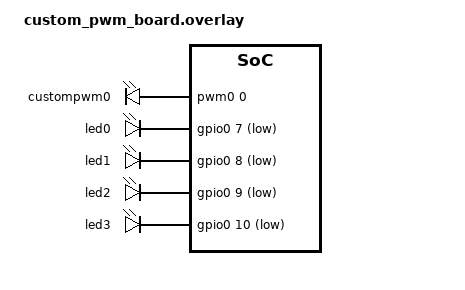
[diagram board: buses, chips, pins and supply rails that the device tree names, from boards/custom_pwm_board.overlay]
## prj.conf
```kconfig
CONFIG_GPIO=y

CONFIG_STDOUT_CONSOLE=y
CONFIG_PRINTK=y
CONFIG_PWM=y
CONFIG_LOG=y
CONFIG_LOG_PRINTK=y
CONFIG_LOG_MODE_IMMEDIATE=y
CONFIG_PWM_LOG_LEVEL_DBG=y
```

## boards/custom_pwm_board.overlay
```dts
/{
    custompwms {
        compatible = "pwm-leds";
    
        custompwm0: custom_pwm_0 {
            pwms =  <&pwm0 0 PWM_MSEC(20) PWM_POLARITY_INVERTED>, 
                    <&pwm0 1 PWM_MSEC(20) PWM_POLARITY_INVERTED>,
                    <&pwm0 2 PWM_MSEC(20) PWM_POLARITY_INVERTED>,
                    <&pwm0 3 PWM_MSEC(20) PWM_POLARITY_INVERTED>
                   ;
        };
    };
    aliases {
        mycustompwm = &custompwm0;
    };
};

&pinctrl {
    pwm0_default: pwm0_default {
		group1 {
			psels = <NRF_PSEL(PWM_OUT0, 0, 11)>,
           <NRF_PSEL(PWM_OUT1, 0, 12)>,
           <NRF_PSEL(PWM_OUT2, 0, 15)>,
           <NRF_PSEL(PWM_OUT3, 0, 16)>;
			nordic,invert;
		};
	};
	pwm0_sleep: pwm0_sleep {
		group1 {
			psels = <NRF_PSEL(PWM_OUT0, 0, 11)>,
				    <NRF_PSEL(PWM_OUT1, 0, 12)>,
                    <NRF_PSEL(PWM_OUT2, 0, 15)>,
                    <NRF_PSEL(PWM_OUT3, 0, 16)>;
			low-power-enable;
		};
	};
};

&led0 {
    gpios = <&gpio0 7 GPIO_ACTIVE_LOW>;
};

&led1 {
    gpios = <&gpio0 8 GPIO_ACTIVE_LOW>;
};

&led2 {
    gpios = <&gpio0 9 GPIO_ACTIVE_LOW>;
};

&led3 {
    gpios = <&gpio0 10 GPIO_ACTIVE_LOW>;
};
```

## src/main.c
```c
#include <zephyr/kernel.h>
#include <zephyr/sys/printk.h>
#include <zephyr/device.h>
#include <zephyr/drivers/pwm.h>
#include <zephyr/drivers/gpio.h>
#include <math.h>

static const struct pwm_dt_spec custompwm[] = 
{
	PWM_DT_SPEC_GET_BY_IDX(DT_ALIAS(mycustompwm), 0),
	PWM_DT_SPEC_GET_BY_IDX(DT_ALIAS(mycustompwm), 1),
	// PWM_DT_SPEC_GET_BY_IDX(DT_ALIAS(mycustompwm), 2),
	// PWM_DT_SPEC_GET_BY_IDX(DT_ALIAS(mycustompwm), 3),
};

#define PWM_DEVICES_LENGTH sizeof(custompwm) / sizeof(custompwm[0])

static const struct gpio_dt_spec gpio_devices[] = {
	GPIO_DT_SPEC_GET(DT_ALIAS(led0), gpios),
	GPIO_DT_SPEC_GET(DT_ALIAS(led1), gpios),
	GPIO_DT_SPEC_GET(DT_ALIAS(led2), gpios),
	GPIO_DT_SPEC_GET(DT_ALIAS(led3), gpios),
};

#define GPIO_DEVICES_LENGTH sizeof(gpio_devices) / sizeof(gpio_devices[0])

int main(void)
{
	int error;

	for(size_t i=0; i<PWM_DEVICES_LENGTH; i++)
	{
		if (!device_is_ready(custompwm[i].dev)) {
			printk("Error: PWM device %s is not ready\n", custompwm[i].dev->name);
			return 0;
		}
	}

	for(size_t i=0; i<GPIO_DEVICES_LENGTH; i++)
	{
		if (!gpio_pin_configure_dt(&(gpio_devices[i]), GPIO_OUTPUT_ACTIVE)) {
			// printk("Error: GPIO device %s is not ready\n", gpio_devices[i]);
			return 0;
		}
	}

	error = pwm_set_pulse_dt(
		custompwm + 0, 
		custompwm->period * 1.0
	);
	error = gpio_pin_set_dt(&(gpio_devices[0]), true);
	error = gpio_pin_set_dt(&(gpio_devices[1]), false);
	error = gpio_pin_set_dt(&(gpio_devices[2]), true);
	error = gpio_pin_set_dt(&(gpio_devices[3]), false);

	while (1);

	return 0;
}
```
